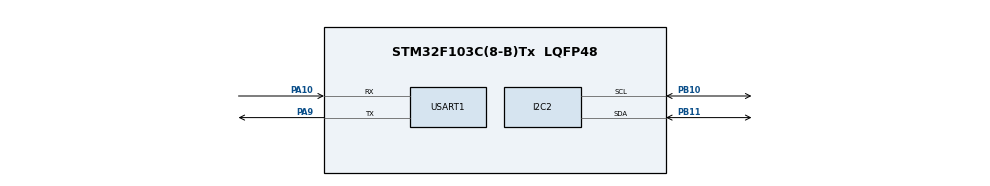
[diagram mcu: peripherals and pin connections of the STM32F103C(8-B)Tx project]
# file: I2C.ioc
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Mcu.Family=STM32F1
Mcu.Name=STM32F103C(8-B)Tx
Mcu.Package=LQFP48
NVIC.PriorityGroup=NVIC_PRIORITYGROUP_4
PA10.Mode=Asynchronous
PA10.Signal=USART1_RX
PA13.Mode=Serial_Wire
PA13.Signal=SYS_JTMS-SWDIO
PA14.Mode=Serial_Wire
PA14.Signal=SYS_JTCK-SWCLK
PA9.Mode=Asynchronous
PA9.Signal=USART1_TX
PB10.Mode=I2C
PB10.Signal=I2C2_SCL
PB11.Mode=I2C
PB11.Signal=I2C2_SDA
PD0-OSC_IN.Mode=HSE-External-Oscillator
PD0-OSC_IN.Signal=RCC_OSC_IN
PD1-OSC_OUT.Mode=HSE-External-Oscillator
PD1-OSC_OUT.Signal=RCC_OSC_OUT
ProjectManager.HeapSize=0x200
ProjectManager.StackSize=0x400
ProjectManager.TargetToolchain=STM32CubeIDE
RCC.APB1Freq_Value=8000000
RCC.APB2Freq_Value=8000000
USART1.VirtualMode=VM_ASYNC
board=custom

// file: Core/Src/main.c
/* USER CODE BEGIN Header */
/**
  ******************************************************************************
  * @file           : main.c
  * @brief          : Main program body
  ******************************************************************************
  * @attention
  *
  * <h2><center>&copy; Copyright (c) 2024 STMicroelectronics.
  * All rights reserved.</center></h2>
  *
  * This software component is licensed by ST under BSD 3-Clause license,
  * the "License"; You may not use this file except in compliance with the
  * License. You may obtain a copy of the License at:
  *                        opensource.org/licenses/BSD-3-Clause
  *
  ******************************************************************************
  */
/* USER CODE END Header */
#include "main.h"

I2C_HandleTypeDef hi2c2;

UART_HandleTypeDef huart1;

/* USER CODE BEGIN PV */
uint8_t data_send[256];
//uint8_t data_send1[50]= {"Tran Kim Khanh "};
uint8_t data_read[1];

uint16_t i,j=0;
uint8_t send_data[256]= 	{
							"Ngay 23 thang 3 nam 2024\r\n"
							};
/* USER CODE END PV */

void SystemClock_Config(void);
static void MX_GPIO_Init(void);
static void MX_I2C2_Init(void);
static void MX_USART1_UART_Init(void);

/* USER CODE BEGIN 0 */
uint8_t data[1] = {0};
/* USER CODE END 0 */

int main(void)
{

  /* MCU Configuration--------------------------------------------------------*/

  /* Reset of all peripherals, Initializes the Flash interface and the Systick. */
  HAL_Init();

  /* Configure the system clock */
  SystemClock_Config();

  /* Initialize all configured peripherals */
  MX_GPIO_Init();
  MX_I2C2_Init();
  MX_USART1_UART_Init();
  /* USER CODE BEGIN 2 */
for(i=0x0000; i <= 0x00FF; i++)
{
	HAL_I2C_Mem_Write(&hi2c2, 0xa0 ,i , 2, &send_data[i] ,1, 100);
	HAL_Delay(5);
}
for(i=0x0000 ;i <= 0x00FF; i++)
{
	HAL_I2C_Mem_Read(&hi2c2, 0xa0, i, 2, data_read, 1, 100);
	data_send[j]=data_read[0];
	j++;
}
//	HAL_UART_Transmit(&huart2, &data_send1[0], sizeof(data_send1), 1000);
//	HAL_Delay(60);
	HAL_UART_Transmit(&huart1, &data_send[0], sizeof(data_send), 1000);
  /* USER CODE END 2 */

  /* Infinite loop */
  while (1)
  {

  }
}

void SystemClock_Config(void)
{
  RCC_OscInitTypeDef RCC_OscInitStruct = {0};
  RCC_ClkInitTypeDef RCC_ClkInitStruct = {0};

  /** Initializes the RCC Oscillators according to the specified parameters
  * in the RCC_OscInitTypeDef structure.
  */
  RCC_OscInitStruct.OscillatorType = RCC_OSCILLATORTYPE_HSI;
  RCC_OscInitStruct.HSIState = RCC_HSI_ON;
  RCC_OscInitStruct.HSICalibrationValue = RCC_HSICALIBRATION_DEFAULT;
  RCC_OscInitStruct.PLL.PLLState = RCC_PLL_NONE;
  if (HAL_RCC_OscConfig(&RCC_OscInitStruct) != HAL_OK)
  {
    Error_Handler();
  }

  /** Initializes the CPU, AHB and APB buses clocks
  */
  RCC_ClkInitStruct.ClockType = RCC_CLOCKTYPE_HCLK|RCC_CLOCKTYPE_SYSCLK
                              |RCC_CLOCKTYPE_PCLK1|RCC_CLOCKTYPE_PCLK2;
  RCC_ClkInitStruct.SYSCLKSource = RCC_SYSCLKSOURCE_HSI;
  RCC_ClkInitStruct.AHBCLKDivider = RCC_SYSCLK_DIV1;
  RCC_ClkInitStruct.APB1CLKDivider = RCC_HCLK_DIV1;
  RCC_ClkInitStruct.APB2CLKDivider = RCC_HCLK_DIV1;

  if (HAL_RCC_ClockConfig(&RCC_ClkInitStruct, FLASH_LATENCY_0) != HAL_OK)
  {
    Error_Handler();
  }
}

static void MX_I2C2_Init(void)
{

  hi2c2.Instance = I2C2;
  hi2c2.Init.ClockSpeed = 100000;
  hi2c2.Init.DutyCycle = I2C_DUTYCYCLE_2;
  hi2c2.Init.OwnAddress1 = 0;
  hi2c2.Init.AddressingMode = I2C_ADDRESSINGMODE_7BIT;
  hi2c2.Init.DualAddressMode = I2C_DUALADDRESS_DISABLE;
  hi2c2.Init.OwnAddress2 = 0;
  hi2c2.Init.GeneralCallMode = I2C_GENERALCALL_DISABLE;
  hi2c2.Init.NoStretchMode = I2C_NOSTRETCH_DISABLE;
  if (HAL_I2C_Init(&hi2c2) != HAL_OK)
  {
    Error_Handler();
  }

}

static void MX_USART1_UART_Init(void)
{

  huart1.Instance = USART1;
  huart1.Init.BaudRate = 115200;
  huart1.Init.WordLength = UART_WORDLENGTH_8B;
  huart1.Init.StopBits = UART_STOPBITS_1;
  huart1.Init.Parity = UART_PARITY_NONE;
  huart1.Init.Mode = UART_MODE_TX_RX;
  huart1.Init.HwFlowCtl = UART_HWCONTROL_NONE;
  huart1.Init.OverSampling = UART_OVERSAMPLING_16;
  if (HAL_UART_Init(&huart1) != HAL_OK)
  {
    Error_Handler();
  }

}

static void MX_GPIO_Init(void)
{

  /* GPIO Ports Clock Enable */
  __HAL_RCC_GPIOD_CLK_ENABLE();
  __HAL_RCC_GPIOB_CLK_ENABLE();
  __HAL_RCC_GPIOA_CLK_ENABLE();

}

void Error_Handler(void)
{
  __disable_irq();
  while (1)
  {
  }
}
